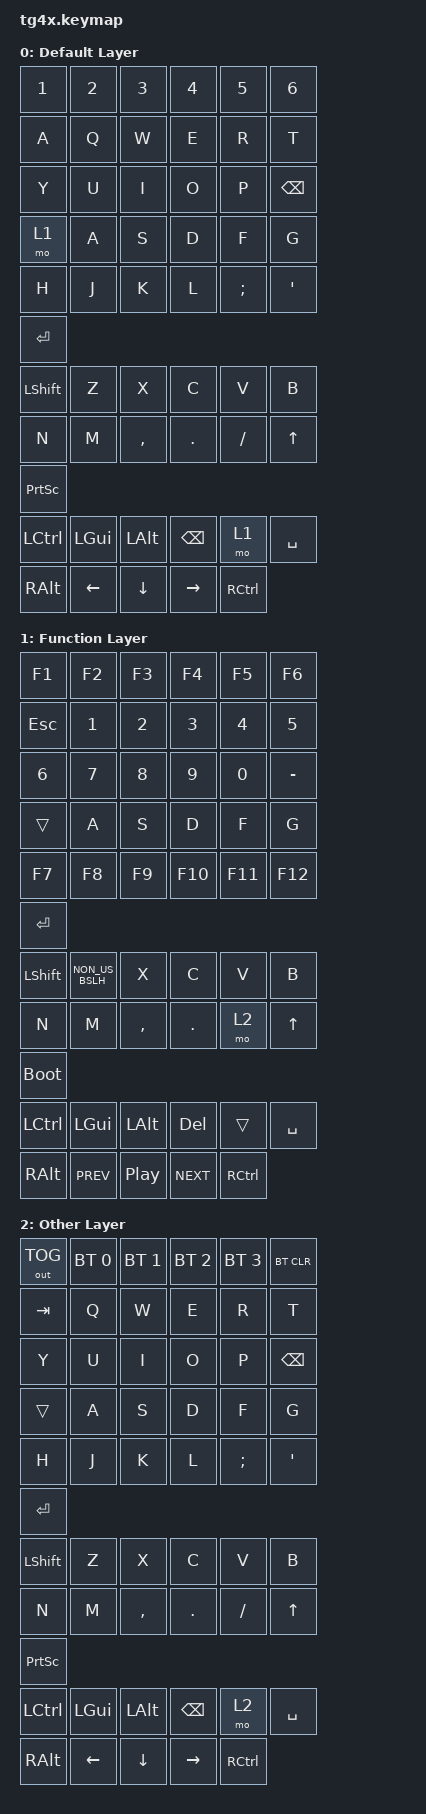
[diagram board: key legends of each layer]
/*
 * Copyright (c) 2020 The ZMK Contributors
 *
 * SPDX-License-Identifier: MIT
 */

#include <behaviors.dtsi>
#include <dt-bindings/zmk/keys.h>
#include <dt-bindings/zmk/bt.h>
#include <dt-bindings/zmk/outputs.h>

/ {
    behaviors {
        ht: hold_tap {
            compatible = "zmk,behavior-hold-tap";
            #binding-cells = <2>;
            tapping-term-ms = <200>;
            flavor = "tap-preferred";
            bindings = <&kp>, <&kp>;
        };
    };

    keymap {
        compatible = "zmk,keymap";

        default_layer {
            display-name = "Default Layer";
            bindings = <
// Row 0 (6 keys)
&kp N1        &kp N2        &kp N3        &kp N4        &kp N5        &kp N6

// Row 1 (12 keys)  
&kp A         &kp Q         &kp W         &kp E         &kp R         &kp T
&kp Y         &kp U         &kp I         &kp O         &kp P         &kp BSPC

// Row 2 (13 keys)
&mo 1         &kp A         &kp S         &kp D         &kp F         &kp G
&kp H         &kp J         &kp K         &kp L         &kp SEMI      &kp SQT
&kp RET

// Row 3 (13 keys)
&kp LSHFT     &kp Z         &kp X         &kp C         &kp V         &kp B
&kp N         &kp M         &kp COMMA     &kp DOT       &kp FSLH      &kp UP
&kp PSCRN

// Row 4 (11 keys)
&kp LCTRL     &kp LGUI      &kp LALT      &kp BSPC      &mo 1         &kp SPACE
&kp RALT      &kp LEFT      &kp DOWN      &kp RIGHT     &kp RCTRL
            >;
        };

        function_layer {
            display-name = "Function Layer";
            bindings = <
// Row 0 (6 keys)
&kp F1        &kp F2        &kp F3        &kp F4        &kp F5        &kp F6

// Row 1 (12 keys)
&kp ESC       &kp N1        &kp N2        &kp N3        &kp N4        &kp N5
&kp N6        &kp N7        &kp N8        &kp N9        &kp N0        &kp MINUS

// Row 2 (13 keys)
&trans        &kp A         &kp S         &kp D         &kp F         &kp G
&kp F7        &kp F8        &kp F9        &kp F10       &kp F11       &kp F12
&kp RET

// Row 3 (13 keys)
&kp LSHFT     &kp NON_US_BSLH &kp X       &kp C         &kp V         &kp B
&kp N         &kp M         &kp COMMA     &kp DOT       &mo 2         &kp UP
&bootloader

// Row 4 (11 keys)
&kp LCTRL     &kp LGUI      &kp LALT      &kp DEL       &trans        &kp SPACE
&kp RALT      &kp C_PREV    &kp C_PP      &kp C_NEXT    &kp RCTRL
            >;
        };

        other_layer {
            display-name = "Other Layer";
            bindings = <
// Row 0 (6 keys)
&out OUT_TOG  &bt BT_SEL 0  &bt BT_SEL 1  &bt BT_SEL 2  &bt BT_SEL 3  &bt BT_CLR

// Row 1 (12 keys)
&kp TAB       &kp Q         &kp W         &kp E         &kp R         &kp T
&kp Y         &kp U         &kp I         &kp O         &kp P         &kp BSPC

// Row 2 (13 keys)
&trans        &kp A         &kp S         &kp D         &kp F         &kp G
&kp H         &kp J         &kp K         &kp L         &kp SEMI      &kp SQT
&kp RET

// Row 3 (13 keys)
&kp LSHFT     &kp Z         &kp X         &kp C         &kp V         &kp B
&kp N         &kp M         &kp COMMA     &kp DOT       &kp FSLH      &kp UP
&kp PSCRN

// Row 4 (11 keys)
&kp LCTRL     &kp LGUI      &kp LALT      &kp BSPC      &mo 2         &kp SPACE
&kp RALT      &kp LEFT      &kp DOWN      &kp RIGHT     &kp RCTRL
            >;
        };
    };
};
